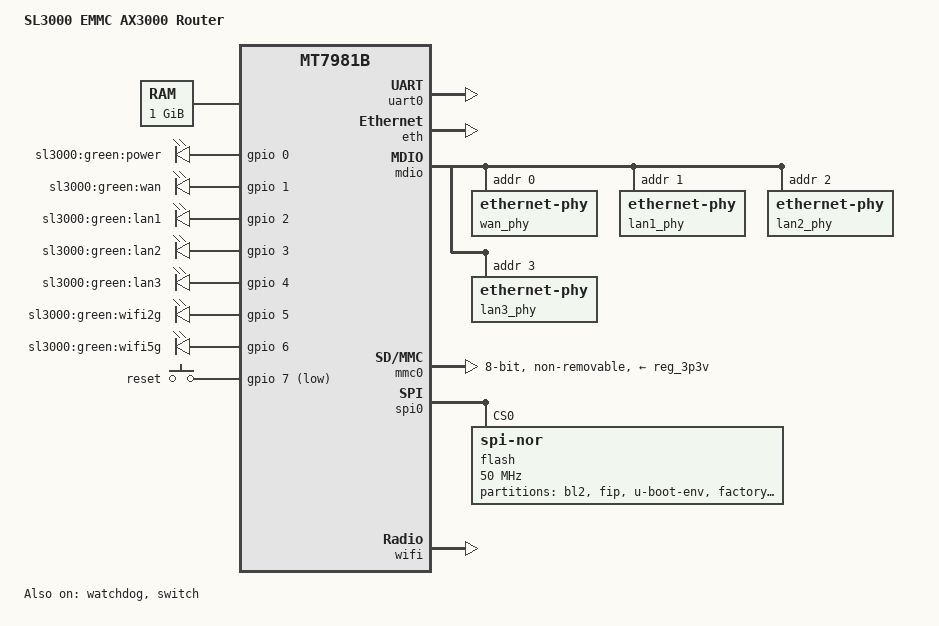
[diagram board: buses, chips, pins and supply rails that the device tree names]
// SPDX-License-Identifier: GPL-2.0-or-later
/dts-v1/;

#include "mt7981b.dtsi"

/ {
    model = "SL3000 EMMC AX3000 Router";
    compatible = "sl,sl3000-emmc", "mediatek,mt7981b";

    aliases {
        serial0 = &uart0;
        led-boot = &led_power;
        led-failsafe = &led_power;
        led-running = &led_power;
        led-upgrade = &led_power;
    };

    chosen {
        stdout-path = "serial0:115200n8";
        bootargs = "console=ttyS0,115200n8";
    };

    memory {
        device_type = "memory";
        reg = <0x40000000 0x40000000>; /* 1GB DDR，按你实际情况可调 */
    };

    reserved-memory {
        #address-cells = <1>;
        #size-cells = <1>;
        ranges;

        /* 预留 WED / WiFi / 其他硬件加速区域，按需要启用 */
        wed_reserved: wed@47c00000 {
            reg = <0x47c00000 0x00400000>;
            no-map;
        };
    };

    leds {
        compatible = "gpio-leds";

        led_power: power {
            label = "sl3000:green:power";
            gpios = <&gpio 0 GPIO_ACTIVE_HIGH>; /* 占位，按实际 GPIO 改 */
            default-state = "on";
        };

        wan {
            label = "sl3000:green:wan";
            gpios = <&gpio 1 GPIO_ACTIVE_HIGH>;
        };

        lan1 {
            label = "sl3000:green:lan1";
            gpios = <&gpio 2 GPIO_ACTIVE_HIGH>;
        };

        lan2 {
            label = "sl3000:green:lan2";
            gpios = <&gpio 3 GPIO_ACTIVE_HIGH>;
        };

        lan3 {
            label = "sl3000:green:lan3";
            gpios = <&gpio 4 GPIO_ACTIVE_HIGH>;
        };

        wifi2g {
            label = "sl3000:green:wifi2g";
            gpios = <&gpio 5 GPIO_ACTIVE_HIGH>;
        };

        wifi5g {
            label = "sl3000:green:wifi5g";
            gpios = <&gpio 6 GPIO_ACTIVE_HIGH>;
        };
    };

    keys {
        compatible = "gpio-keys";

        reset {
            label = "reset";
            gpios = <&gpio 7 GPIO_ACTIVE_LOW>; /* 占位，按实际 GPIO 改 */
            linux,code = <KEY_RESTART>;
            debounce-interval = <60>;
        };
    };
};

/* UART */
&uart0 {
    status = "okay";
};

/* Watchdog */
&watchdog {
    status = "okay";
};

/* Ethernet / Switch 布局：1 WAN + 3 LAN */
&eth {
    status = "okay";

    mediatek,eth-mac = "mtketh";
    mediatek,eth-ports = <0 1 2 3>;

    gmac0: mac@0 {
        compatible = "mediatek,eth-mac";
        reg = <0>;
        phy-mode = "sgmii";
        phy-handle = <&wan_phy>;
        nvmem-cells = <&macaddr_factory_4>;
        nvmem-cell-names = "mac-address";
    };

    gmac1: mac@1 {
        compatible = "mediatek,eth-mac";
        reg = <1>;
        phy-mode = "rgmii";
        fixed-link {
            speed = <1000>;
            full-duplex;
        };
    };
};

&mdio {
    status = "okay";

    wan_phy: ethernet-phy@0 {
        reg = <0>;
        /* 外置 PHY 或内置 PHY 映射，按实际改 */
    };

    lan1_phy: ethernet-phy@1 {
        reg = <1>;
    };

    lan2_phy: ethernet-phy@2 {
        reg = <2>;
    };

    lan3_phy: ethernet-phy@3 {
        reg = <3>;
    };
};

/* DSA / Switch 节点（如果是内置 GSW，可按官方 mt7981 参考板对齐） */
&switch {
    status = "okay";

    ports {
        #address-cells = <1>;
        #size-cells = <0>;

        port0: port@0 {
            reg = <0>;
            label = "wan";
            phy-handle = <&wan_phy>;
        };

        port1: port@1 {
            reg = <1>;
            label = "lan1";
            phy-handle = <&lan1_phy>;
        };

        port2: port@2 {
            reg = <2>;
            label = "lan2";
            phy-handle = <&lan2_phy>;
        };

        port3: port@3 {
            reg = <3>;
            label = "lan3";
            phy-handle = <&lan3_phy>;
        };

        cpu_port: port@6 {
            reg = <6>;
            label = "cpu";
            ethernet = <&gmac1>;
            phy-mode = "trgmii";
            fixed-link {
                speed = <1000>;
                full-duplex;
            };
        };
    };
};

/* eMMC：128GB，挂在 SDHCI 控制器上 */
&mmc0 {
    status = "okay";
    bus-width = <8>;
    cap-mmc-highspeed;
    non-removable;
    disable-wp;
    vmmc-supply = <&reg_3p3v>;
    vqmmc-supply = <&reg_1p8v>;

    mmc0boot0: partition@0 {
        label = "emmc-boot0";
        reg = <0x00000000 0x01000000>;
        read-only;
    };

    mmc0boot1: partition@1000000 {
        label = "emmc-boot1";
        reg = <0x01000000 0x01000000>;
        read-only;
    };

    mmc0rpmb: partition@2000000 {
        label = "emmc-rpmb";
        reg = <0x02000000 0x01000000>;
        read-only;
    };

    mmc0user: partition@3000000 {
        label = "emmc-user";
        reg = <0x03000000 0x3D000000>; /* 剩余全部空间，按实际调整 */
    };
};

/* SPI-NOR：32MB，用于 BL + Kernel + Recovery 等 */
&spi0 {
    status = "okay";

    flash@0 {
        compatible = "jedec,spi-nor";
        reg = <0>;
        spi-max-frequency = <50000000>;

        partitions {
            compatible = "fixed-partitions";
            #address-cells = <1>;
            #size-cells = <1>;

            partition@0 {
                label = "bl2";
                reg = <0x00000000 0x00080000>;
                read-only;
            };

            partition@80000 {
                label = "fip";
                reg = <0x00080000 0x00200000>;
                read-only;
            };

            partition@280000 {
                label = "u-boot-env";
                reg = <0x00280000 0x00080000>;
            };

            partition@300000 {
                label = "factory";
                reg = <0x00300000 0x00100000>;
            };

            partition@400000 {
                label = "firmware";
                reg = <0x00400000 0x01C00000>;
            };
        };
    };
};

/* WiFi：2.4G + 5G，AX3000 典型布局 */
&wifi {
    status = "okay";
    mediatek,mtd-eeprom = <&factory 0x0000>;
};

/* 供电 / LDO 占位，按实际板级电路调整 */
&reg_3p3v {
    status = "okay";
};

&reg_1p8v {
    status = "okay";
};
